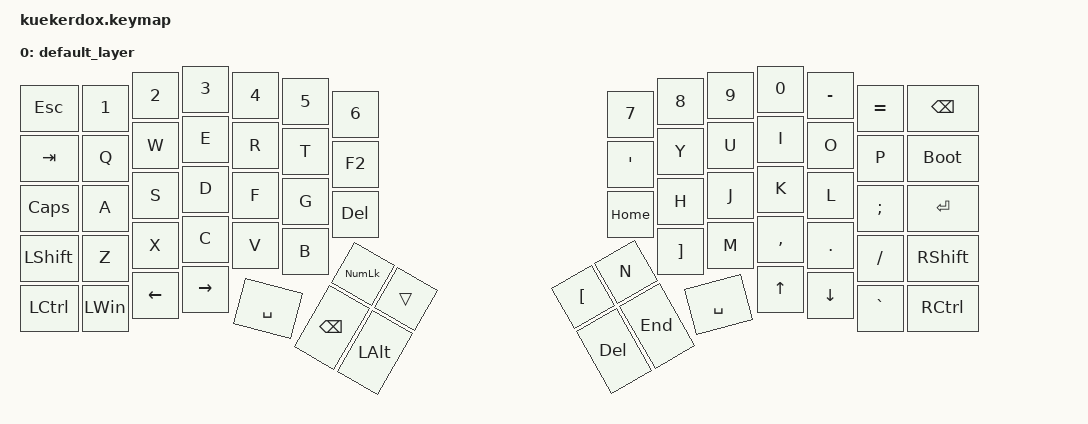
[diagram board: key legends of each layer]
/*
 * Copyright (c) 2020 The ZMK Contributors
 *
 * SPDX-License-Identifier: MIT
 */

#include <behaviors.dtsi>
#include <dt-bindings/zmk/keys.h>
#include <dt-bindings/zmk/bt.h>
#include <dt-bindings/zmk/outputs.h>
//#include "kuekerdox.dts"

/ {
        keymap {
                compatible = "zmk,keymap";

                default_layer {
                        bindings = <
   &kp ESC   &kp N1   &kp N2   &kp N3    &kp N4   &kp N5    &kp N6                            &kp N7   &kp N8    &kp N9  &kp N0    &kp MINUS &kp EQUAL &kp BSPC
   &kp TAB   &kp Q    &kp W    &kp E     &kp R    &kp T     &kp F2                            &kp APOS &kp Y     &kp U   &kp I     &kp O     &kp P     &bootloader 
   &kp CAPS  &kp A    &kp S    &kp D     &kp F    &kp G     &kp DEL                           &kp HOME &kp H     &kp J   &kp K     &kp L     &kp SEMI  &kp RETURN
   &kp LSHFT &kp Z    &kp X    &kp C     &kp V    &kp B     &kp KP_NUM   &trans     &kp LBKT  &kp RBKT &kp N     &kp M   &kp COMMA &kp DOT   &kp SLASH &kp RSHFT
   &kp LCTRL &kp LWIN &kp LEFT &kp RIGHT &kp SPACE &kp BSPC &kp LALT                          &kp DEL  &kp END &kp SPACE &kp UP    &kp DOWN  &kp GRAVE &kp RCTRL

                        >;
                };
                num_layer {
                        status = "reserved";
                };

                fn_layer {
                        status = "reserved";
                };

                extra1 {
                        status = "reserved";
                 };

                extra2 {
                        status = "reserved";
                };

                extra3 {
                        status = "reserved";
                };

                physical_layout = <&physical_layout0>;
        };
};
